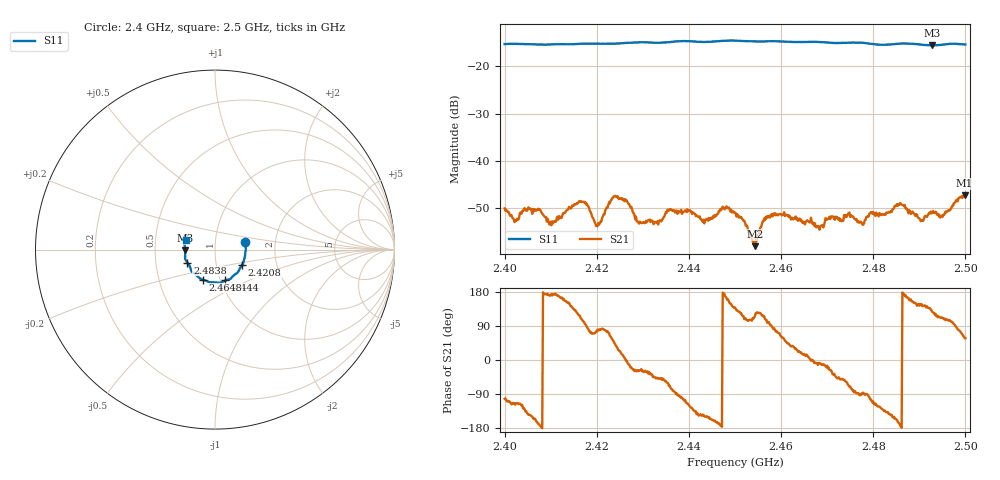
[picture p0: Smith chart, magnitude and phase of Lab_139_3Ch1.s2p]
# Hz S RI R 50
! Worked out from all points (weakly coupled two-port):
!   601 points, 2.4 GHz to 2.5 GHz, reference 50 ohm
!   highest |S21| = -47.29 dB at 2.4998 GHz (marker M1); lowest = -58.0 dB at 2.4543 GHz (marker M2)
!   lowest |S11| = -15.6 dB at 2.4928 GHz (marker M3), VSWR 1.40, Z = 35.7 - j0.314 ohm
!   |S11| at or under -10 dB: start of sweep to end of sweep
!   S12 and S22 are empty: the file has one direction only
!   S11 on the Smith chart (normalised r, x): 2.4 GHz: 1.39, +0.12; 2.4208 GHz: 1.33, -0.24; 2.444 GHz: 1.05, -0.37; 2.4648 GHz: 0.83, -0.29; 2.4838 GHz: 0.73, -0.11; 2.5 GHz: 0.72, +0.08
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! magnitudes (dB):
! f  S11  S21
! 2.4 GHz  -15.3  -50.0
! 2.4025 GHz  -15.2  -52.7
! 2.4073 GHz  -15.4  -50.1
! 2.4102 GHz  -15.4  -53.6
! 2.4167 GHz  -15.2  -48.7
! 2.4208 GHz  -15.2  -52.8
! 2.424 GHz  -15.2  -47.4
! 2.4292 GHz  -14.9  -53.3
! 2.4333 GHz  -15.0  -53.5
! 2.4358 GHz  -14.9  -50.2
! 2.444 GHz  -14.9  -52.2
! 2.45 GHz  -14.6  -50.9
! 2.4543 GHz  -14.7  -58.0
! 2.4575 GHz  -14.7  -51.6
! 2.4648 GHz  -14.9  -52.8
! 2.4667 GHz  -14.8  -53.1
! 2.4833 GHz  -15.4  -50.8
! 2.4838 GHz  -15.4  -50.6
! 2.4928 GHz  -15.6  -50.9
! 2.4948 GHz  -15.5  -51.6
! 2.4998 GHz  -15.4  -47.3
! 2.5 GHz  -15.4  -47.4
